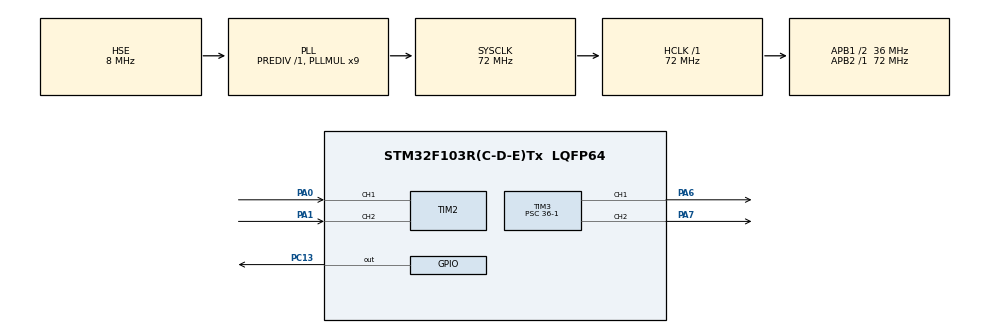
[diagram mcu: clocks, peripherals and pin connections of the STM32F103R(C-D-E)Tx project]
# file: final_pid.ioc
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Mcu.Family=STM32F1
Mcu.Name=STM32F103R(C-D-E)Tx
Mcu.Package=LQFP64
NVIC.PriorityGroup=NVIC_PRIORITYGROUP_4
NVIC.TIM4_IRQn=true\:0\:0\:false\:false\:true\:true\:true
PA0-WKUP.Signal=S_TIM2_CH1_ETR
PA1.Signal=S_TIM2_CH2
PA13.Mode=Serial_Wire
PA13.Signal=SYS_JTMS-SWDIO
PA14.Mode=Serial_Wire
PA14.Signal=SYS_JTCK-SWCLK
PA6.Signal=S_TIM3_CH1
PA7.Signal=S_TIM3_CH2
PC13-TAMPER-RTC.GPIO_PuPd=GPIO_PULLDOWN
PC13-TAMPER-RTC.PinState=GPIO_PIN_SET
PC13-TAMPER-RTC.Signal=GPIO_Output
PD0-OSC_IN.Mode=HSE-External-Oscillator
PD0-OSC_IN.Signal=RCC_OSC_IN
PD1-OSC_OUT.Mode=HSE-External-Oscillator
PD1-OSC_OUT.Signal=RCC_OSC_OUT
ProjectManager.HeapSize=0x200
ProjectManager.StackSize=0x400
ProjectManager.TargetToolchain=MDK-ARM V5.27
RCC.AHBFreq_Value=72000000
RCC.APB1CLKDivider=RCC_HCLK_DIV2
RCC.APB1Freq_Value=36000000
RCC.APB1TimFreq_Value=72000000
RCC.APB2Freq_Value=72000000
RCC.APB2TimFreq_Value=72000000
RCC.HCLKFreq_Value=72000000
RCC.PLLMUL=RCC_PLL_MUL9
RCC.PLLSourceVirtual=RCC_PLLSOURCE_HSE
RCC.SYSCLKFreq_VALUE=72000000
RCC.SYSCLKSource=RCC_SYSCLKSOURCE_PLLCLK
RCC.USBFreq_Value=72000000
SH.S_TIM2_CH1_ETR.0=TIM2_CH1,Encoder_Interface
SH.S_TIM2_CH2.0=TIM2_CH2,Encoder_Interface
SH.S_TIM3_CH1.0=TIM3_CH1,PWM Generation1 CH1
SH.S_TIM3_CH2.0=TIM3_CH2,PWM Generation2 CH2
TIM2.EncoderMode=TIM_ENCODERMODE_TI12
TIM3.Channel-PWM\ Generation1\ CH1=TIM_CHANNEL_1
TIM3.Channel-PWM\ Generation2\ CH2=TIM_CHANNEL_2
TIM3.Period=100-1
TIM3.Prescaler=36-1
TIM4.Period=1000-1
TIM4.Prescaler=72-1
VP_TIM4_VS_ClockSourceINT.Mode=Internal
board=custom

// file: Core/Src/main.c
/* USER CODE BEGIN Header */
/**
  ******************************************************************************
  * @file           : main.c
  * @brief          : Main program body
  ******************************************************************************
  * @attention
  *
  * <h2><center>&copy; Copyright (c) 2021 STMicroelectronics.
  * All rights reserved.</center></h2>
  *
  * This software component is licensed by ST under BSD 3-Clause license,
  * the "License"; You may not use this file except in compliance with the
  * License. You may obtain a copy of the License at:
  *                        opensource.org/licenses/BSD-3-Clause
  *
  ******************************************************************************
  */
/* USER CODE END Header */
#include "main.h"
#include "tim.h"
#include "gpio.h"

/* USER CODE BEGIN Includes */
#include "math.h"
#include "stdlib.h"
/* USER CODE END Includes */

/* USER CODE BEGIN PTD */
#define Ts_ 0.01

uint8_t time_tick_1ms = 0;
uint8_t time_tick_10ms = 0;

float get_enc_value = 0;
float get_vel_value = 0;

float Kp = 0, Ki = 0, Kd = 0;

float Vc = 0;

float Vref = 0;

float ek=0 ,ek_1 = 0,ek_2 = 0;
float uk = 0,uk1 = 0, uk_1 = 0;

float rev_angle_enc = 0;

uint8_t ON = 0;
/* USER CODE END PTD */

void SystemClock_Config(void);
/* USER CODE BEGIN PFP */
float my_motorVel(void);
float my_position(void);
float Saturation(float _uk);
void process_PID(float _Vref, float _Vc);
void reset_PID(void);
void PID_init(float _Kp,float _Ki,float _Kd);
/* USER CODE END PFP */

/* USER CODE BEGIN 0 */
float my_motorVel()
{
	static int16_t enc_current = 0, enc_pre = 0;
	float vel= 0;
	enc_current = __HAL_TIM_GetCounter(&htim2);

	float pulse_cnt = enc_current - enc_pre;

	if (pulse_cnt >= 32768)
	{
		pulse_cnt -= 65536;
	}
	else if (pulse_cnt <= -32768)
	{
		pulse_cnt += 65536;
	}

	vel = (pulse_cnt*100*60.0)/1600;
	enc_pre = enc_current;
	return vel;
}

float my_position()
{
	static int16_t enc_count = 0;
	float rev_angle = 0;

	enc_count = __HAL_TIM_GetCounter(&htim2);
	rev_angle = enc_count*360.0/1600;

	return rev_angle;
}

float Saturation(float _uk)
{
	if(_uk < 0) _uk =  abs(_uk);

	if(_uk < 15) _uk = 0;

	if(_uk > 90) _uk = 90;

	return _uk;
}

void process_PID(float _Vref, float _Vc)
{
	ek = _Vref - _Vc;
	uk = uk_1 + Kp*(ek-ek_1)
				+ Ki*Ts_*(ek + ek_1)*0.5
				+ Kd*(ek-2*ek_1+ek_2)/Ts_;
	uk_1 = uk;
	ek_2 = ek_1;
	ek_1 = ek;

	uk1 = uk;

	if(uk1 > 0){
		uk1 = Saturation(uk1);
		__HAL_TIM_SET_COMPARE(&htim3,TIM_CHANNEL_1,uk1);
		__HAL_TIM_SET_COMPARE(&htim3,TIM_CHANNEL_2,0);
	}else if (uk1 < 0){
		uk1 = Saturation(uk1);
		__HAL_TIM_SET_COMPARE(&htim3,TIM_CHANNEL_1,0);
		__HAL_TIM_SET_COMPARE(&htim3,TIM_CHANNEL_2,uk1);
	}
	else if (uk == 0){
		uk1 = Saturation(uk1);
		__HAL_TIM_SET_COMPARE(&htim3,TIM_CHANNEL_1,0);
		__HAL_TIM_SET_COMPARE(&htim3,TIM_CHANNEL_2,0);
	}

}

void reset_PID()
{
	ek = 0;
	ek_1 = 0;
	ek_2 = 0;
	uk = 0;
	uk_1 = 0;
	rev_angle_enc = 0;
	__HAL_TIM_SET_COMPARE(&htim3,TIM_CHANNEL_1,0);
	__HAL_TIM_SET_COMPARE(&htim3,TIM_CHANNEL_2,0);
}

void PID_init(float _Kp,float _Ki,float _Kd)
{
	Kp = _Kp;
	Ki = _Ki;
	Kd = _Kd;
	ek = 0;
	ek_1 = 0;
	ek_2 = 0;
	uk = 0;
	uk_1 = 0;
}
/* USER CODE END 0 */

int main(void)
{

  /* MCU Configuration--------------------------------------------------------*/

  /* Reset of all peripherals, Initializes the Flash interface and the Systick. */
  HAL_Init();

  /* Configure the system clock */
  SystemClock_Config();

  /* Initialize all configured peripherals */
  MX_GPIO_Init();
  MX_TIM2_Init();
  MX_TIM3_Init();
  MX_TIM4_Init();
  /* USER CODE BEGIN 2 */
	 HAL_TIM_Encoder_Start(&htim2, TIM_CHANNEL_1|TIM_CHANNEL_2);

  HAL_TIM_PWM_Start(&htim3, TIM_CHANNEL_1);
  HAL_TIM_PWM_Start(&htim3, TIM_CHANNEL_2);

	HAL_TIM_Base_Start_IT(&htim4);

	Vref = 0;
	ON = 0;
	reset_PID();
	//NVIC_SystemReset();
	//HAL_Delay(500);
  /* USER CODE END 2 */

  /* Infinite loop */
  /* USER CODE BEGIN WHILE */
  while (1)
  {
		if (time_tick_1ms == 1)
		{
			get_enc_value = TIM2->CNT;
			time_tick_10ms ++;
			time_tick_1ms = 0;
		}
			if (time_tick_10ms == 10)
			{
				rev_angle_enc = my_position();
				//Vc = my_motorVel();
				if (ON == 1)
				{
					process_PID(Vref,rev_angle_enc);
				}
				else
				{
					reset_PID();
					PID_init(Kp,Ki,Kd);
					rev_angle_enc = 0;
				}
				time_tick_10ms = 0;
			}

    /* USER CODE END WHILE */

  }
}

void SystemClock_Config(void)
{
  RCC_OscInitTypeDef RCC_OscInitStruct = {0};
  RCC_ClkInitTypeDef RCC_ClkInitStruct = {0};

  /** Initializes the RCC Oscillators according to the specified parameters
  * in the RCC_OscInitTypeDef structure.
  */
  RCC_OscInitStruct.OscillatorType = RCC_OSCILLATORTYPE_HSE;
  RCC_OscInitStruct.HSEState = RCC_HSE_ON;
  RCC_OscInitStruct.HSEPredivValue = RCC_HSE_PREDIV_DIV1;
  RCC_OscInitStruct.HSIState = RCC_HSI_ON;
  RCC_OscInitStruct.PLL.PLLState = RCC_PLL_ON;
  RCC_OscInitStruct.PLL.PLLSource = RCC_PLLSOURCE_HSE;
  RCC_OscInitStruct.PLL.PLLMUL = RCC_PLL_MUL9;
  if (HAL_RCC_OscConfig(&RCC_OscInitStruct) != HAL_OK)
  {
    Error_Handler();
  }
  /** Initializes the CPU, AHB and APB buses clocks
  */
  RCC_ClkInitStruct.ClockType = RCC_CLOCKTYPE_HCLK|RCC_CLOCKTYPE_SYSCLK
                              |RCC_CLOCKTYPE_PCLK1|RCC_CLOCKTYPE_PCLK2;
  RCC_ClkInitStruct.SYSCLKSource = RCC_SYSCLKSOURCE_PLLCLK;
  RCC_ClkInitStruct.AHBCLKDivider = RCC_SYSCLK_DIV1;
  RCC_ClkInitStruct.APB1CLKDivider = RCC_HCLK_DIV2;
  RCC_ClkInitStruct.APB2CLKDivider = RCC_HCLK_DIV1;

  if (HAL_RCC_ClockConfig(&RCC_ClkInitStruct, FLASH_LATENCY_2) != HAL_OK)
  {
    Error_Handler();
  }
}

/* USER CODE BEGIN 4 */
void HAL_TIM_PeriodElapsedCallback(TIM_HandleTypeDef *htim)
{
		if(htim->Instance == TIM4)
		{
				time_tick_1ms = 1;
		}
}
/* USER CODE END 4 */

void Error_Handler(void)
{
  __disable_irq();
  while (1)
  {
  }
}

/************************ (C) COPYRIGHT STMicroelectronics *****END OF FILE****/
